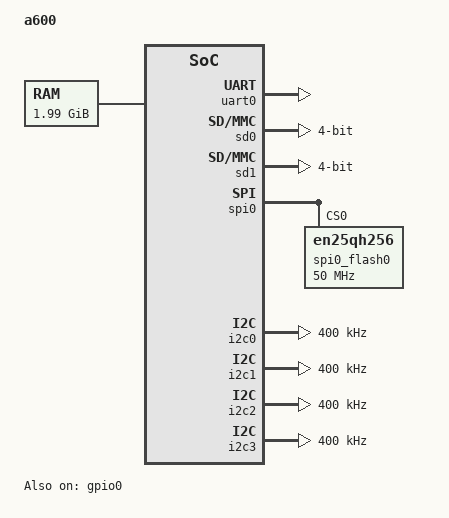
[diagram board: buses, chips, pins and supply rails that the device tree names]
/*
 * Copyright (C) 2014 Faraday, Inc. (www.faraday-tech.com)
 *
 * This program is free software; you can redistribute it and/or modify
 * it under the terms of the GNU General Public License version 2 as
 * published by the Free Software Foundation.
 */
 /dts-v1/;

#include <dt-bindings/interrupt-controller/arm-gic.h>

/ {
	model = "a600";
	compatible = "arm,faraday-soc";
	u-boot,dm-pre-reloc;
	interrupt-parent = <&gic>;
	#address-cells = <1>;
	#size-cells = <1>;
	
	aliases {
		u-boot,dm-pre-reloc;
		serial0 = &uart0;
		spi0 = &spi0;
	};
	
	cpus {
		#address-cells = <1>;
		#size-cells = <0>;
		
		cpu@0 {
			device_type = "cpu";
			compatible = "arm,cortex-a53", "arm,armv8";
			reg = <0x100>;
			enable-method = "spin-table";
		};
		cpu@1 {
			device_type = "cpu";
			compatible = "arm,cortex-a53","arm,armv8";
			reg = <0x101>;
			enable-method = "spin-table";
			cpu-release-addr = <0x0 0x28030008>;
			cpu-magic-addr = <0x0 0x28030000>;
		};
		cpu@2 {
			device_type = "cpu";
			compatible = "arm,cortex-a53","arm,armv8";
			clock-frequency = <50000000>;
			reg = <0x102>;
			enable-method = "spin-table";
			cpu-release-addr = <0x0 0x28030008>;
			cpu-magic-addr = <0x0 0x28030000>;
		};
		cpu@3 {
			device_type = "cpu";
			compatible = "arm,cortex-a53","arm,armv8";
			clock-frequency = <50000000>;
			reg = <0x103>;
			enable-method = "spin-table";
			cpu-release-addr = <0x0 0x28030008>;
			cpu-magic-addr = <0x0 0x28030000>;
		};
	};
	
	memory@80000000 {
		device_type = "memory";
		reg = <0x80000000 0x7F800000>;
	};
	
	gic: interrupt-controller@28600000 {
		compatible = "arm,gic-400", "arm,cortex-a15-gic";
		interrupt-controller;
		#interrupt-cells = <3>;
		#address-cells = <1>;
		reg = <0x28601000 0x1000>,
		      <0x28602000 0x1000>;
	};
	
	chosen {
		u-boot,dm-pre-reloc;
		bootargs = "mem=2040M console=ttyS0,115200";
		stdout-path = &uart0;
		tick-timer = &timer0;
	};
	
	timer0: timer@20600000 {
		u-boot,dm-pre-reloc;
		compatible = "faraday,ftpwmtmr010-timer";
		reg = <0x20600000 0x1000>;
		interrupts = <GIC_SPI 36 IRQ_TYPE_LEVEL_HIGH>;
	};
	
	uart0: uart@20700000 {
		u-boot,dm-pre-reloc;
		compatible = "of_serial,ns16550_serial", "ns16550";
		clock-frequency = <58823529>;
		reg = <0x20700000 0x1000>;
		reg-offset = <0>;
		reg-shift = <2>;
		reg-io-width = <4>;
		no-loopback-test;
		interrupts = <GIC_SPI 37 IRQ_TYPE_LEVEL_HIGH>;
	};
	
	sd0: sd@24300000 {
		compatible = "faraday,ftsdc021-sdhci";
		interrupt-parent = <&gic>;
		reg = <0x24300000 0x1000>;
		interrupts = <GIC_SPI 25 IRQ_TYPE_LEVEL_HIGH>;
		bus-width = <4>;
		status = "okay";
	};
	
	sd1: sd@24400000 {
		compatible = "faraday,ftsdc021-sdhci";
		interrupt-parent = <&gic>;
		reg = <0x24400000 0x1000>;
		interrupts = <GIC_SPI 26 IRQ_TYPE_LEVEL_HIGH>;
		bus-width = <4>;
		status = "okay";
	};
	
	spi0: spi@28300000 {
		compatible = "faraday,ftspi020_spi";
		interrupt-parent = <&gic>;
		reg = <0x28300000 0x200>;
		interrupts = <GIC_SPI 51 IRQ_TYPE_LEVEL_HIGH>;
		num-cs = <4>;
		cs = <0>;
		max_hz = <20000000>;
		status = "okay";
		
		#address-cells = <1>;
		#size-cells = <0>;
		spi0_flash0: spi0_flash0@0 {
			compatible = "en25qh256";
			#address-cells = <1>;
			#size-cells = <1>;
			spi-max-frequency = <50000000>;
			reg = <0>;
			
			spi0_flash0@00000000 {
				label = "spi0_flash0";
				reg = <0x0 0x100000>;
			};
		};
	};
	
	i2c0: i2c@20100000 {
		compatible = "faraday,fti2c010-i2c";
		interrupt-parent = <&gic>;
		dev_id = <0>;
		reg = <0x20100000 0x1000>;
		clock-frequency = <400000>;
		status = "okay";
	};
	
	i2c1: i2c@20200000 {
		compatible = "faraday,fti2c010-i2c";
		interrupt-parent = <&gic>;
		dev_id = <1>;
		reg = <0x20200000 0x1000>;
		clock-frequency = <400000>;
		status = "okay";
	};
	
	i2c2: i2c@20300000 {
		compatible = "faraday,fti2c010-i2c";
		interrupt-parent = <&gic>;
		dev_id = <2>;
		reg = <0x20300000 0x1000>;
		clock-frequency = <400000>;
		status = "okay";
	};
	
	i2c3: i2c@20400000 {
		compatible = "faraday,fti2c010-i2c";
		interrupt-parent = <&gic>;
		dev_id = <3>;
		reg = <0x20400000 0x1000>;
		clock-frequency = <400000>;
		status = "okay";
	};
	
	gpio0: gpio@20e00000 {
		compatible = "faraday,ftgpio010";
		interrupt-parent = <&gic>;
		reg = <0x20e00000 0x1000>;
		ngpios = <16>;
		status = "okay";
	};
};
